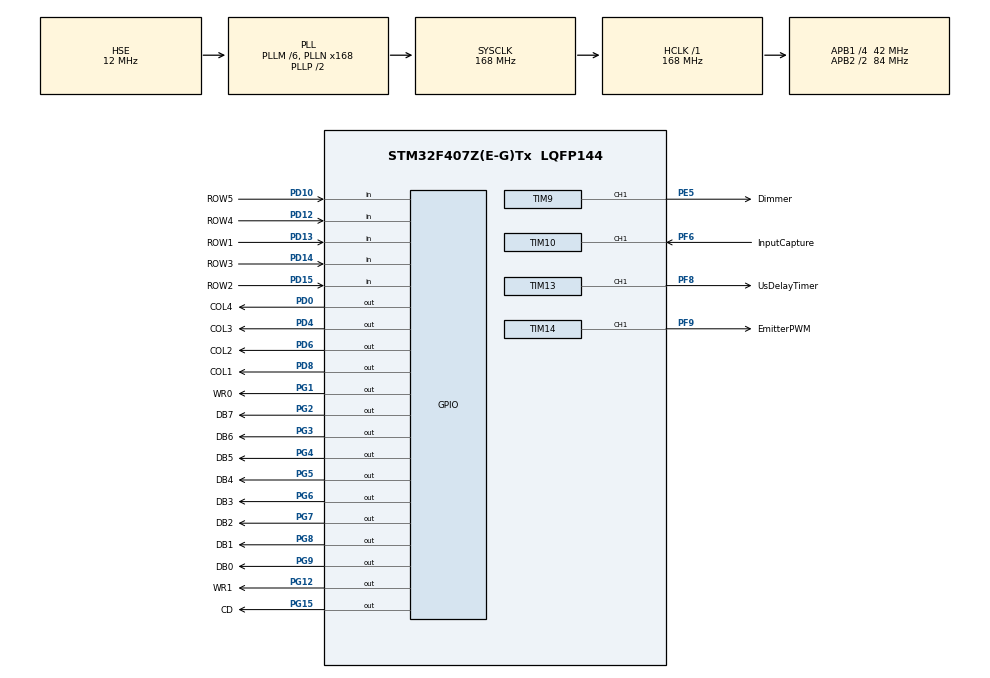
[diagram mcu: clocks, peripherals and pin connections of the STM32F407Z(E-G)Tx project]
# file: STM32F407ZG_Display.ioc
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FREERTOS.Tasks01=rewriteDisplay,55,2048,rewriteDisplayFunction,Default,NULL,Dynamic,NULL,NULL;buttonListen,16,1024,buttonListenFunction,Default,NULL,Dynamic,NULL,NULL
FREERTOS.configENABLE_FPU=1
FREERTOS.configTOTAL_HEAP_SIZE=64536
FREERTOS.configUSE_NEWLIB_REENTRANT=1
Mcu.Family=STM32F4
Mcu.Name=STM32F407Z(E-G)Tx
Mcu.Package=LQFP144
NVIC.FLASH_IRQn=true\:5\:0\:false\:false\:true\:true\:true\:true\:true
NVIC.FPU_IRQn=true\:5\:0\:false\:false\:true\:true\:true\:false\:true
NVIC.PVD_IRQn=true\:5\:0\:false\:false\:true\:true\:true\:true\:true
NVIC.PriorityGroup=NVIC_PRIORITYGROUP_4
NVIC.RCC_IRQn=true\:5\:0\:false\:false\:true\:true\:true\:false\:true
NVIC.TIM1_BRK_TIM9_IRQn=true\:5\:0\:false\:false\:true\:true\:true\:true\:true
NVIC.TIM1_UP_TIM10_IRQn=true\:15\:0\:false\:false\:true\:false\:false\:true\:true
NVIC.TIM8_TRG_COM_TIM14_IRQn=true\:5\:0\:false\:false\:true\:true\:true\:true\:true
NVIC.TIM8_UP_TIM13_IRQn=true\:5\:0\:false\:false\:true\:true\:true\:true\:true
NVIC.TimeBase=TIM1_UP_TIM10_IRQn
NVIC.TimeBaseIP=TIM1
PA13.Mode=Serial_Wire
PA13.Signal=SYS_JTMS-SWDIO
PA14.Mode=Serial_Wire
PA14.Signal=SYS_JTCK-SWCLK
PC14-OSC32_IN.Mode=LSE-External-Oscillator
PC14-OSC32_IN.Signal=RCC_OSC32_IN
PC15-OSC32_OUT.Mode=LSE-External-Oscillator
PC15-OSC32_OUT.Signal=RCC_OSC32_OUT
PD0.GPIO_Label=COL4
PD0.Signal=GPIO_Output
PD10.GPIO_Label=ROW5
PD10.GPIO_PuPd=GPIO_PULLUP
PD10.Signal=GPIO_Input
PD12.GPIO_Label=ROW4
PD12.GPIO_PuPd=GPIO_PULLUP
PD12.Signal=GPIO_Input
PD13.GPIO_Label=ROW1
PD13.GPIO_PuPd=GPIO_PULLUP
PD13.Signal=GPIO_Input
PD14.GPIO_Label=ROW3
PD14.GPIO_PuPd=GPIO_PULLUP
PD14.Signal=GPIO_Input
PD15.GPIO_Label=ROW2
PD15.GPIO_PuPd=GPIO_PULLUP
PD15.Signal=GPIO_Input
PD4.GPIO_Label=COL3
PD4.Signal=GPIO_Output
PD6.GPIO_Label=COL2
PD6.Signal=GPIO_Output
PD8.GPIO_Label=COL1
PD8.Signal=GPIO_Output
PE5.GPIO_Label=Dimmer
PE5.GPIO_Speed=GPIO_SPEED_FREQ_HIGH
PE5.Signal=S_TIM9_CH1
PF6.GPIO_Label=InputCapture
PF6.GPIO_Speed=GPIO_SPEED_FREQ_VERY_HIGH
PF6.Signal=S_TIM10_CH1
PF8.GPIO_Label=UsDelayTimer
PF8.GPIO_ModeDefaultPP=GPIO_MODE_AF_PP
PF8.GPIO_PuPd=GPIO_NOPULL
PF8.GPIO_Speed=GPIO_SPEED_FREQ_VERY_HIGH
PF8.Signal=S_TIM13_CH1
PF9.GPIO_Label=EmitterPWM
PF9.GPIO_Speed=GPIO_SPEED_FREQ_VERY_HIGH
PF9.Signal=S_TIM14_CH1
PG1.GPIO_Label=WR0
PG1.Signal=GPIO_Output
PG12.GPIO_Label=WR1
PG12.Signal=GPIO_Output
PG15.GPIO_Label=CD
PG15.Signal=GPIO_Output
PG2.GPIO_Label=DB7
PG2.Signal=GPIO_Output
PG3.GPIO_Label=DB6
PG3.Signal=GPIO_Output
PG4.GPIO_Label=DB5
PG4.Signal=GPIO_Output
PG5.GPIO_Label=DB4
PG5.Signal=GPIO_Output
PG6.GPIO_Label=DB3
PG6.Signal=GPIO_Output
PG7.GPIO_Label=DB2
PG7.Signal=GPIO_Output
PG8.GPIO_Label=DB1
PG8.Signal=GPIO_Output
PG9.GPIO_Label=DB0
PG9.Signal=GPIO_Output
PH0-OSC_IN.Mode=HSE-External-Oscillator
PH0-OSC_IN.Signal=RCC_OSC_IN
PH1-OSC_OUT.Mode=HSE-External-Oscillator
PH1-OSC_OUT.Signal=RCC_OSC_OUT
ProjectManager.HeapSize=0x2000
ProjectManager.StackSize=0x4000
ProjectManager.TargetToolchain=STM32CubeIDE
RCC.48MHZClocksFreq_Value=84000000
RCC.AHBFreq_Value=168000000
RCC.APB1CLKDivider=RCC_HCLK_DIV4
RCC.APB1Freq_Value=42000000
RCC.APB1TimFreq_Value=84000000
RCC.APB2CLKDivider=RCC_HCLK_DIV2
RCC.APB2Freq_Value=84000000
RCC.APB2TimFreq_Value=168000000
RCC.CortexFreq_Value=168000000
RCC.HCLKFreq_Value=168000000
RCC.HSE_VALUE=12000000
RCC.HSI_VALUE=16000000
RCC.PLLM=6
RCC.PLLN=168
RCC.PLLSourceVirtual=RCC_PLLSOURCE_HSE
RCC.RCC_RTC_Clock_Source=RCC_RTCCLKSOURCE_LSI
RCC.RCC_RTC_Clock_SourceVirtual=RCC_RTCCLKSOURCE_LSI
RCC.SYSCLKFreq_VALUE=168000000
RCC.SYSCLKSource=RCC_SYSCLKSOURCE_PLLCLK
RCC.VCOOutputFreq_Value=336000000
RTC.AsynchPrediv=127
RTC.HourFormat=RTC_HOURFORMAT_24
SH.S_TIM10_CH1.0=TIM10_CH1,Input_Capture1_from_TI1
SH.S_TIM13_CH1.0=TIM13_CH1,PWM Generation1 CH1
SH.S_TIM14_CH1.0=TIM14_CH1,PWM Generation1 CH1
SH.S_TIM9_CH1.0=TIM9_CH1,PWM Generation1 CH1
TIM10.AutoReloadPreload=TIM_AUTORELOAD_PRELOAD_ENABLE
TIM10.Channel=TIM_CHANNEL_1
TIM13.AutoReloadPreload=TIM_AUTORELOAD_PRELOAD_DISABLE
TIM13.Channel=TIM_CHANNEL_1
TIM13.OCFastMode_PWM=TIM_OCFAST_ENABLE
TIM13.Period=65536-1
TIM13.Prescaler=84-1
TIM14.AutoReloadPreload=TIM_AUTORELOAD_PRELOAD_ENABLE
TIM14.Channel=TIM_CHANNEL_1
TIM14.OCFastMode_PWM=TIM_OCFAST_ENABLE
TIM14.OCPolarity_1=TIM_OCPOLARITY_LOW
TIM14.Period=56000-1
TIM14.Prescaler=0
TIM14.Pulse=10
TIM9.AutoReloadPreload=TIM_AUTORELOAD_PRELOAD_ENABLE
TIM9.Channel-PWM\ Generation1\ CH1=TIM_CHANNEL_1
TIM9.ClockDivision=TIM_CLOCKDIVISION_DIV1
TIM9.OCFastMode_PWM-PWM\ Generation1\ CH1=TIM_OCFAST_ENABLE
TIM9.Period=1000-1
TIM9.Prescaler=84-1
TIM9.Pulse-PWM\ Generation1\ CH1=200
VP_FREERTOS_VS_CMSIS_V2.Mode=CMSIS_V2
VP_RTC_VS_RTC_Activate.Mode=RTC_Enabled
VP_SYS_VS_tim1.Mode=TIM1
VP_TIM10_VS_ClockSourceINT.Mode=Enable_Timer
VP_TIM13_VS_ClockSourceINT.Mode=Enable_Timer
VP_TIM14_VS_ClockSourceINT.Mode=Enable_Timer
VP_TIM9_VS_ClockSourceINT.Mode=Internal
board=custom

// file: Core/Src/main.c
/* USER CODE BEGIN Header */
/**
  ******************************************************************************
  * @file           : main.c
  * @brief          : Main program body
  ******************************************************************************
  * @attention
  *
  * <h2><center>&copy; Copyright (c) 2022 STMicroelectronics.
  * All rights reserved.</center></h2>
  *
  * This software component is licensed by ST under BSD 3-Clause license,
  * the "License"; You may not use this file except in compliance with the
  * License. You may obtain a copy of the License at:
  *                        opensource.org/licenses/BSD-3-Clause
  *
  ******************************************************************************
  */
/* USER CODE END Header */
#include "main.h"
#include "cmsis_os.h"

/* USER CODE BEGIN Includes */
#include "u8g2/u8g2.h"
#include <string.h>
#include "STM32F4xx.h"
#include <stm32f4xx_hal.h>
#include "menu.h"
#include <stdio.h>
#include <stdlib.h>
/* USER CODE END Includes */

/* USER CODE BEGIN PD */
uint8_t ButtonState = 0;
/* USER CODE END PD */

RTC_HandleTypeDef hrtc;

TIM_HandleTypeDef htim9;
TIM_HandleTypeDef htim10;
TIM_HandleTypeDef htim13;
TIM_HandleTypeDef htim14;

/* Definitions for rewriteDisplay */
osThreadId_t rewriteDisplayHandle;
const osThreadAttr_t rewriteDisplay_attributes = {
  .name = "rewriteDisplay",
  .stack_size = 2048 * 4,
  .priority = (osPriority_t) osPriorityRealtime7,
};
/* Definitions for buttonListen */
osThreadId_t buttonListenHandle;
const osThreadAttr_t buttonListen_attributes = {
  .name = "buttonListen",
  .stack_size = 1024 * 4,
  .priority = (osPriority_t) osPriorityBelowNormal,
};
/* USER CODE BEGIN PV */
// INPUT CAPTURE VARIABLES
//int64_t IC_Val1 = 0;
//int64_t IC_Val2 = 0;
int64_t Difference = 0;
uint8_t valid_for_capturing = 2;
//uint8_t Is_First_Captured = 0;
const uint64_t TIMCLOCK = 84000000; //168000000
const uint64_t COEFFICIENT = 1000000000;
//const uint64_t translateus2Y = 1562;
///////////////////////////////////////////////////////////////////////////////////////////////////////

// METAL INDICATOR PARAMETERS
//const double min_gs_speed = 0.003; // obvious, no exact
//const double max_hss_speed = 0.009; // obvious, no exact
//const double max_gs_speed = 0.0049; // mm/ns
//const double min_hss_speed = 0.0055; // mm/ns

const double min_gs_speed = 0.0015; // obvious, no exact
const double max_gs_speed = 0.00245; // mm/ns
const double min_hss_speed = 0.00275; // mm/ns
const double max_hss_speed = 0.0045; // obvious, no exact

const uint32_t TEST_DELAY = 400;  // ns

///////////////////////////////////////////////////////////////////////////////////////////////////////

// ARRAY VARIABLES FOR CONST MEASURING LENGTH
const uint8_t array_size = 8;
const uint8_t array_len = 6;
int data_array[][6] = {
		{4, 8, 0, 0, 0, 0},
		{5, 6, 0, 0, 0, 0},
		{0, 0, 0, 0, 0, 0},
		{0, 0, 0, 0, 0, 0},
		{0, 0, 0, 0, 0, 0},
		{0, 0, 0, 0, 0, 0},
		{0, 0, 0, 0, 0, 0},
		{0, 0, 0, 0, 0, 0}
};
int32_t menu1position = 0;
const uint8_t max_menu_position = 5;

/////////////////////////////////////////////////////////////////////////////////////////////////////////

// MESSAGE VARIABLES IN CHANGING LENGTH MODE
int pointer_y_coordinate = 0;
char messages[][25] = {
		{"L1="},
		{"L2="},
		{"L3="},
		{"L4="},
		{"L5="},
		{"L6="},
		{"L7="},
		{"L8="},
};
char current_messages[][25] = {
		{" L1=480,000мм"},
		{" L2=560,000мм"},
		{" L3=000,000мм"},
		{" L4=000,000мм"},
		{" L5=000,000мм"},
		{" L6=000,000мм"},
		{" L7=000,000мм"},
		{" L8=000,000мм"},
};

const int line_points_max_index = 1024;
int line_points_x[1025] = {0};  // initialized in main
// readed values
int line_points_y[1025] = {0};

///////////////////////////////////////////////////////////////////////////////////////////////////////////////////////////////////////////

// USER U8G2 VARIALBLE:
static u8g2_t u8g2;
/* USER CODE END PV */

void SystemClock_Config(void);
static void MX_GPIO_Init(void);
static void MX_TIM10_Init(void);
static void MX_TIM9_Init(void);
static void MX_TIM13_Init(void);
static void MX_TIM14_Init(void);
static void MX_RTC_Init(void);
void rewriteDisplayFunction(void *argument);
void buttonListenFunction(void *argument);

/* USER CODE BEGIN PFP */

// Example menu item specific enter callback function, run when the associated menu item is entered.
static void Level1Item2_Enter(void) {
	u8g2_SetFont(&u8g2, u8g2_font_ncenB14_tr);
	u8g2_FirstPage(&u8g2);
	do {
		u8g2_DrawStr(&u8g2, 0, 15, "ENTER");
	} while (u8g2_NextPage(&u8g2));
}

// Example menu item specific select callback function, run when the associated menu item is selected.
static void Item_Select_Callback(uint8_t x, uint8_t y) {
	u8g2_SetFont(&u8g2, u8g2_font_ncenB14_tr);
	u8g2_SetDrawColor(&u8g2, 1);	// change color of text (inverse)
	u8g2_DrawRBox(&u8g2, x, y, 100, 20, 8);	// draw frame
}

/////////////////////////////////////////////////////////////////////////////////////////////////////////////////////////////////////////////////////////////////////////////////////////////////////////D

// DRAW DOTTED LINE
void u8g2_DrawDLine(u8g2_t *u8g2, u8g2_uint_t x1, u8g2_uint_t y1, u8g2_uint_t x2, u8g2_uint_t y2, u8g2_int_t d) {
	u8g2_uint_t tmp;
	u8g2_uint_t x,y;
	u8g2_uint_t dx, dy;
	u8g2_int_t err;
	u8g2_int_t ystep;
	uint8_t swapxy = 0;
	/* no intersection check at the moment, should be added... */
	if (x1>x2) dx=x1-x2; else dx=x2-x1;
	if (y1>y2) dy=y1-y2; else dy=y2-y1;
	if (dy>dx) {
		swapxy = 1;
		tmp=dx; dx=dy; dy=tmp;
		tmp=x1; x1=y1; y1=tmp;
		tmp=x2; x2=y2; y2=tmp;
	}
	if (x1>x2) tmp=x1, x1=x2, x2=tmp, tmp=y1, y1=y2, y2=tmp;
	err = dx >> 1;
	if (y2>y1) ystep = 1; else ystep = -1, y = y1;
	#ifndef  U8G2_16BIT
		if (x2 == 255) x2--;
	#else
		if (x2 == 0xffff) x2--;
	#endif
	for(x=x1; x<=x2; x++) {
		if (swapxy == 0) {
			if(d==0) {
				u8g2_DrawPixel(u8g2, x, y); /* solid line */
			} else if(d==1){
				if(x%2==0) u8g2_DrawPixel(u8g2, x, y); /* dotted line */
			} else if(d>1){
				if((x/d)%2==0) u8g2_DrawPixel(u8g2, x, y); /* dashed line */
			} else if(d<0){
				if((x/-d)%2!=0) u8g2_DrawPixel(u8g2, x, y); /* dashed line inverted */
			}
		} else {
			if(d==0) {
				u8g2_DrawPixel(u8g2, y, x); /* solid line */
			} else if(d==1){
				if(x%2==0) u8g2_DrawPixel(u8g2, y, x); /* dotted line */
			} else if(d>1){
				if((x/d)%2==0) u8g2_DrawPixel(u8g2, y, x); /* dashed line */
			} else if(d<0){
				if((x/-d)%2!=0) u8g2_DrawPixel(u8g2, y, x); /* dashed line inverted */
			}
		}
		err -= (uint8_t)dy;
		if (err<0) y += (u8g2_uint_t)ystep, err += (u8g2_uint_t)dx;
	}
}

//////////////////////////////////////////////////////////////////////////////////////////////////////////////////////////////////////////////////////////////////////////////////////////////////////

// DRAW GRAPH FOR CHANGING LENGTH POINT IN MENU (2ND)
uint64_t used_difference_ = 0;
uint8_t already_used_ = 0;
static void DrawGraphChangingLength(void) {
	u8g2_SetDrawColor(&u8g2, 1);
	u8g2_FirstPage(&u8g2);
	do {
		u8g2_DrawFrame(&u8g2, 10, 4, 220, 120); // x, y, w, h
		u8g2_SetFont(&u8g2, u8g2_font_10x20_t_cyrillic);
		u8g2_DrawStr(&u8g2, 115, 30, "?");
		// draw unicode symbols
		// horizontal lines:
		u8g2_DrawDLine(&u8g2, 10, 40, 229, 40, 1); // x1, y1, x2, y2
		u8g2_DrawDLine(&u8g2, 10, 110, 229, 110, 1); // x1, y1, x2, y2
		// vertical lines:
		u8g2_DrawDLine(&u8g2, 78, 4, 78, 40, 1); // x1, y1, x2, y2
		u8g2_DrawDLine(&u8g2, 162, 4, 162, 40, 1); // x1, y1, x2, y2
		if (!already_used_) {
			used_difference_ = 0;
			for (int i = 0; i <= line_points_max_index; ++i) {
				used_difference_ += line_points_y[i];
			}
			used_difference_ /= line_points_max_index+1;
			already_used_ = 1;
		}
		if (already_used_ && used_difference_) {
			u8g2_DrawUTF8(&u8g2, 30, 30, "СЧ");
			u8g2_DrawUTF8(&u8g2, 190, 30, "ВЧ");
			u8g2_DrawStr(&u8g2, 85, 80, " > L > ");
			u8g2_DrawUTF8(&u8g2, 35, 95, "мм");
			u8g2_DrawUTF8(&u8g2, 185, 95, "мм");
			char mes1[25];
			char mes2[25];
			double ans1 = used_difference_*max_hss_speed;
			double ans2 = used_difference_*min_gs_speed;
			if (ans1 && ans2) {
				sprintf(mes1, "%.2lf\n", ans1);
				u8g2_DrawUTF8(&u8g2, 20, 80, mes1);
				sprintf(mes2, "%.2lf\n", ans2);
				u8g2_DrawUTF8(&u8g2, 165, 80, mes2);
			}
			already_used_ = 0;
		}
	} while (u8g2_NextPage(&u8g2));
}

///////////////////////////////////////////////////////////////////////////////////////////////////////////////////////////////////////////////////////////////////////////////////////////////////////

//MENU ITEMS INITIALIZATION
//MENU_ITEM(Name, Next, Previous, Parent,    Child,     SelectFunc,           EnterFunc,         xPos,yPos, cursorWidth, cursorHeight, hasachild, Text)
MENU_ITEM(Menu_1, Menu_2, Menu_2, NULL_MENU, Menu_1_1,  Item_Select_Callback, Level1Item2_Enter,       0, 20,  240, 40, 1, "С неизменяющимся измеряемым -размером");
MENU_ITEM(Menu_2, Menu_1, Menu_1, NULL_MENU, NULL_MENU, Item_Select_Callback, DrawGraphChangingLength, 0, 60,  240, 40, 0, "С изменяющимся измеряемым -размером"); // DrawGraphChangingLength
//MENU_ITEM(Menu_3, Menu_1, Menu_2, NULL_MENU, NULL_MENU, Item_Select_Callback, NULL, 0, 100, 240, 40, 0, "График измерений");

MENU_ITEM(Menu_1_1, Menu_1_2, Menu_1_8, Menu_1, NULL_MENU, Item_Select_Callback, NULL, 5, 20, 110, 25, 0, current_messages[0]);
MENU_ITEM(Menu_1_2, Menu_1_3, Menu_1_1, Menu_1, NULL_MENU, Item_Select_Callback, NULL, 5, 45, 110, 25, 0, current_messages[1]);
MENU_ITEM(Menu_1_3, Menu_1_4, Menu_1_2, Menu_1, NULL_MENU, Item_Select_Callback, NULL, 5, 70, 110, 25, 0, current_messages[2]);
MENU_ITEM(Menu_1_4, Menu_1_5, Menu_1_3, Menu_1, NULL_MENU, Item_Select_Callback, NULL, 5, 95, 110, 25, 0, current_messages[3]);
MENU_ITEM(Menu_1_5, Menu_1_6, Menu_1_4, Menu_1, NULL_MENU, Item_Select_Callback, NULL, 5, 120, 110, 25, 0, current_messages[4]);
MENU_ITEM(Menu_1_6, Menu_1_7, Menu_1_5, Menu_1, NULL_MENU, Item_Select_Callback, NULL, 125, 20, 110, 25, 0, current_messages[5]);
MENU_ITEM(Menu_1_7, Menu_1_8, Menu_1_6, Menu_1, NULL_MENU, Item_Select_Callback, NULL, 125, 45, 110, 25, 0, current_messages[6]);
MENU_ITEM(Menu_1_8, Menu_1_1, Menu_1_7, Menu_1, NULL_MENU, Item_Select_Callback, NULL, 125, 70, 110, 25, 0, current_messages[7]);

///////////////////////////////////////////////////////////////////////////////////////////////////////////////////////////////////////////////////////////////////////////////////////////////////////

// FUNCTION FOR WRITE TEXT AND VALUES IN MENU ITEMS
static void Generic_Write(Menu_Item_t *currentMenuItem, Menu_Item_t *currentMenuLayerTopItem) {
	Menu_Item_t *bufptr = currentMenuLayerTopItem;
	u8g2_FirstPage(&u8g2);
	do {
		u8g2_SetDrawColor(&u8g2, 1);	// inverse color
		u8g2_DrawBox(&u8g2, currentMenuItem->xPos, currentMenuItem->yPos - 17, currentMenuItem->cursorWidth, currentMenuItem->cursorHeigth);	// select frame
		u8g2_SetFont(&u8g2, u8g2_font_unifont_t_cyrillic);	// set cyrillic font
		do {
			// if have same coordinates
			if (bufptr->yPos == currentMenuItem->yPos && bufptr->xPos == currentMenuItem->xPos) {
				u8g2_SetDrawColor(&u8g2, 0); // set ordinary text color
				uint8_t stringInterval = 0;
				char str[100];
				strcpy(str, (bufptr->Text)); // copy text from buffer
				const char s[2] = "-";
				char *token;
				token = strtok(str, s);
				while (token != NULL) {
					u8g2_DrawUTF8(&u8g2, bufptr->xPos, bufptr->yPos + stringInterval, token);
					token = strtok(NULL, s);
					stringInterval += 15;
				}
				u8g2_SetDrawColor(&u8g2, 1);
			} else {
				u8g2_SetDrawColor(&u8g2, 1); // set inverse text color
				uint8_t stringInterval = 0;
				char str[100];
				strcpy(str, (bufptr->Text));
				const char s[2] = "-";
				char *token;
				token = strtok(str, s);
				while (token != NULL) {
					u8g2_DrawUTF8(&u8g2, bufptr->xPos, bufptr->yPos + stringInterval, token);
					token = strtok(NULL, s);
					stringInterval += 15;
				}
			}
			bufptr = bufptr->Next;
			// IF FIRST MENU ITEM - DRAW UNDERLINE SYMBOLS
			if (Menu_GetCurrentMenu()->Parent == &Menu_1) {
				uint8_t index_ = 0;
				uint8_t row = 0;
				if (Menu_GetCurrentMenu() == &Menu_1_1) {
					index_ = 0, row = 0;
				} else if (Menu_GetCurrentMenu() == &Menu_1_2) {
					index_ = 1, row = 0;
				} else if (Menu_GetCurrentMenu() == &Menu_1_3) {
					index_ = 2, row = 0;
				} else if (Menu_GetCurrentMenu() == &Menu_1_4) {
					index_ = 3, row = 0;
				} else if (Menu_GetCurrentMenu() == &Menu_1_5) {
					index_ = 4, row = 0;
				} else if (Menu_GetCurrentMenu() == &Menu_1_6) {
					index_ = 0, row = 1;
				} else if (Menu_GetCurrentMenu() == &Menu_1_7) {
					index_ = 1, row = 1;
				} else if (Menu_GetCurrentMenu() == &Menu_1_8) {
					index_ = 2, row = 1;
				}
				u8g2_SetDrawColor(&u8g2, 0);
				if (row == 0) {
					if (menu1position <= 2) {
						u8g2_DrawHLine(&u8g2, 37+8*menu1position, 21+25*index_, 8);
						u8g2_DrawHLine(&u8g2, 37+8*menu1position, 22+25*index_, 8);
					} else {
						u8g2_DrawHLine(&u8g2, 45+8*menu1position, 21+25*index_, 8);
						u8g2_DrawHLine(&u8g2, 45+8*menu1position, 22+25*index_, 8);
					}
				} else if (row == 1){
					if (menu1position <= 2) {
						u8g2_DrawHLine(&u8g2, 157+8*menu1position, 21+25*index_, 8);
						u8g2_DrawHLine(&u8g2, 157+8*menu1position, 22+25*index_, 8);
					} else {
						u8g2_DrawHLine(&u8g2, 165+8*menu1position, 21+25*index_, 8);
						u8g2_DrawHLine(&u8g2, 165+8*menu1position, 22+25*index_, 8);
					}
				}
			}
		} while (bufptr != currentMenuLayerTopItem);
	} while (u8g2_NextPage(&u8g2));
}

////////////////////////////////////////////////////////////////////////////////////////////////////////////////////////////////////////////////////////////////////////////////////////////

// TRANSFORM DOUBLE FROM data_array TO STRING
double double_string(int x) {
	int last_part = 0;
	for (int i = 5; i > 2; --i){
		last_part += data_array[x][i] * pow(10, 5-i);
	}
	int first_part = 0;
	for (int i = 0; i < 3; ++i) {
		first_part += data_array[x][i] * pow(10, 2-i);
	}
	return (double)first_part + (double)last_part/1000;
}

// ADD ELEMENT IN GRAPH (3 POINT IN START MENU)
void add_element(int a) {
	for (int i = 0; i < line_points_max_index; ++i) {
		line_points_y[i] = line_points_y[i+1];
	}
	line_points_y[line_points_max_index] = a;
}

/////////////////////////////////////////////////////////////////////////////////////////////////////////////////////////////////////////////////////////////////////////////////////

// DRAW OBJECT LENGTH LIMITS (2 MENU ITEM)
uint64_t used_difference = 0;
static void DrawStateConstatntLength() {
	uint8_t already_used = 0;
	u8g2_FirstPage(&u8g2);
	u8g2_SetDrawColor(&u8g2, 1);
	const int max_x_point = 220;
	const int max_y_point = 110;
	do {
		// draw frame
		u8g2_DrawFrame(&u8g2, 10, 10, max_x_point, max_y_point+1);
		u8g2_SetFont(&u8g2, u8g2_font_10x20_t_cyrillic);
		int index_ = 9;
		if (Menu_GetCurrentMenu() == &Menu_1_1) {
			index_ = 0;
		} else if (Menu_GetCurrentMenu() == &Menu_1_2) {
			index_ = 1;
		} else if (Menu_GetCurrentMenu() == &Menu_1_3) {
			index_ = 2;
		} else if (Menu_GetCurrentMenu() == &Menu_1_4) {
			index_ = 3;
		} else if (Menu_GetCurrentMenu() == &Menu_1_5) {
			index_ = 4;
		} else if (Menu_GetCurrentMenu() == &Menu_1_6) {
			index_ = 5;
		} else if (Menu_GetCurrentMenu() == &Menu_1_7) {
			index_ = 6;
		} else if (Menu_GetCurrentMenu() == &Menu_1_8) {
			index_ = 7;
		}
		if (index_ != 9) {
			char mes[25];
			sprintf(mes, "L = %d%d%d,%d%d%d мм", data_array[index_][0], data_array[index_][1], data_array[index_][2], data_array[index_][3], data_array[index_][4], data_array[index_][5]);
			u8g2_DrawUTF8(&u8g2, 50, 30, mes);
		}
		if (!already_used) {
			used_difference = 0;
			for (int i = 0; i <= 240; ++i) {
				used_difference += line_points_y[i];
			}
			used_difference /= 241;
			already_used = 1;
		}
		// draw frame
		u8g2_DrawFrame(&u8g2, 90, 40, 60, 30);
		double length = double_string(index_);
		double min_gs_length = min_gs_speed*used_difference;
		double max_hss_length = max_hss_speed*used_difference;
		double max_gs_length = max_gs_speed*used_difference;
		double min_hss_length = min_hss_speed*used_difference;
		if (used_difference) {
			if (length <= max_gs_length && length > min_gs_length) {
				u8g2_DrawUTF8(&u8g2, 110, 60, "СЧ");
			} else if (length >= min_hss_length && length < max_hss_length) {
				u8g2_DrawUTF8(&u8g2, 110, 60, "ВЧ");
			} else {
				u8g2_DrawUTF8(&u8g2, 115, 60, "?");
			}
		} else {
			u8g2_DrawUTF8(&u8g2, 115, 60, "?");
		}
		u8g2_DrawHLine(&u8g2, 10, 73, 220);
		char mes3[25];
		char mes4[25];
		sprintf(mes3, "СЧ: L<=%.3lfмм\n", max_gs_length);
		sprintf(mes4, "ВЧ: L>=%.3lfмм\n", min_hss_length);
		u8g2_DrawUTF8(&u8g2, 30, 90, mes3);
		u8g2_DrawUTF8(&u8g2, 30, 110, mes4);
	} while (u8g2_NextPage(&u8g2));
}

///////////////////////////////////////////////////////////////////////////////////////////////////////////////////////////////////////////////////////////////////////////////////////

// ALTERNATIVE SAFER DELAY FUNCTION FOR MICROSECONDS DELAY
void delay_us(uint8_t us) {
	__HAL_TIM_SET_COUNTER(&htim13, 0);  // set the counter value a 0
	while (__HAL_TIM_GET_COUNTER(&htim13) < us);
	// wait for the counter to reach the us input in the parameter
}

// U8G2 FUNCTION TO WORK PROPERLY (DISPLAY PINS ARE ASSIGNED HERE)
uint8_t u8g2_gpio_and_delay_stm32(U8X8_UNUSED u8x8_t *u8x8, U8X8_UNUSED uint8_t msg, U8X8_UNUSED uint8_t arg_int, U8X8_UNUSED void *arg_ptr) {
	switch (msg) {
		case U8X8_MSG_GPIO_AND_DELAY_INIT:
			HAL_GPIO_WritePin(WR1_GPIO_Port, WR1_Pin, 1);
			HAL_GPIO_WritePin(WR0_GPIO_Port, WR0_Pin, 1);
			osDelay(1);
			break;
		case U8X8_MSG_DELAY_100NANO:		// delay arg_int * 100 nano seconds
			delay_us(arg_int / 10);
			break;
		case U8X8_MSG_DELAY_10MICRO:		// delay arg_int * 10 micro seconds
			delay_us(arg_int * 10);
			break;
		case U8X8_MSG_DELAY_MILLI:			// delay arg_int * 1 milli second
			osDelay(arg_int);
			break;
		case U8X8_MSG_DELAY_NANO:			// delay arg_int * 1 milli second
			delay_us(arg_int / 1000);
			break;
		case U8X8_MSG_GPIO_D0:
			HAL_GPIO_WritePin(DB0_GPIO_Port, DB0_Pin, arg_int);
			break;
		case U8X8_MSG_GPIO_D1:
			HAL_GPIO_WritePin(DB1_GPIO_Port, DB1_Pin, arg_int);
			break;
		case U8X8_MSG_GPIO_D2:
			HAL_GPIO_WritePin(DB2_GPIO_Port, DB2_Pin, arg_int);
			break;
		case U8X8_MSG_GPIO_D3:
			HAL_GPIO_WritePin(DB3_GPIO_Port, DB3_Pin, arg_int);
			break;
		case U8X8_MSG_GPIO_D4:
			HAL_GPIO_WritePin(DB4_GPIO_Port, DB4_Pin, arg_int);
			break;
		case U8X8_MSG_GPIO_D5:
			HAL_GPIO_WritePin(DB5_GPIO_Port, DB5_Pin, arg_int);
			break;
		case U8X8_MSG_GPIO_D6:
			HAL_GPIO_WritePin(DB6_GPIO_Port, DB6_Pin, arg_int);
			break;
		case U8X8_MSG_GPIO_D7:
			HAL_GPIO_WritePin(DB7_GPIO_Port, DB7_Pin, arg_int);
			break;
		case U8X8_MSG_GPIO_DC:
			HAL_GPIO_WritePin(CD_GPIO_Port, CD_Pin, arg_int);
			break;					// used as E2 for the SED1520
		case U8X8_MSG_GPIO_E: // 72
			HAL_GPIO_WritePin(WR0_GPIO_Port, WR0_Pin, arg_int);
			break;
	}
	return 1;
}

//////////////////////////////////////////////////////////////////////////////////////////////////////////////////////////////////////////////////////////////////////////////////////////

/* USER CODE END PFP */

/* USER CODE BEGIN 0 */
// initialize beackup strategy
void serialize_to_bkp_registers() {
    uint32_t value = 0;
    uint32_t index = 0;
    HAL_PWR_EnableBkUpAccess();
    for (uint32_t i = 0; i < array_size; i++) {
        for (uint32_t j = 0; j < array_len; j++) {
            value = value * 10 + data_array[i][j];
        }
        if (index < RTC_BKP_NUMBER) {
            HAL_RTCEx_BKUPWrite(&hrtc, RTC_BKP_DR0 + index, value);
            index++;
            value = 0;
        }
    }
    HAL_PWR_DisableBkUpAccess();
}

void deserialize_from_bkp_registers() {
    uint32_t index = 0;
    uint32_t value;

    for (uint32_t i = 0; i < array_size; i++) {
        if (index < RTC_BKP_NUMBER) {
            value = HAL_RTCEx_BKUPRead(&hrtc, RTC_BKP_DR0 + index);
            if (value) {
				index++;

				for (int j = array_len - 1; j >= 0; j--) {
					data_array[i][j] = value % 10;
					value /= 10;
				}
            }
        }
    }
}

// CAPTURE TIME BETWEEN TWO PULSES
uint32_t number_of_overflowing = 0;  // TO DO
void HAL_TIM_IC_CaptureCallback(TIM_HandleTypeDef *htim)
{
	if ((htim->Instance == TIM10) && (valid_for_capturing == 1)) {
		Difference = HAL_TIM_ReadCapturedValue(htim, TIM_CHANNEL_1);
		if ((Difference > TEST_DELAY) && (Difference < 30000)) {
			add_element(round(COEFFICIENT*(double)(Difference)/TIMCLOCK) - TEST_DELAY);
			valid_for_capturing = 0;
		}
	}
}

// stop generating ultra-sound
//uint8_t is_period_started = 0;
void HAL_TIM_PWM_PulseFinishedCallback(TIM_HandleTypeDef *htim)
{
	if (htim->Instance == TIM14) {
		__HAL_TIM_SET_COUNTER(&htim10, 0x0000);
		valid_for_capturing = 1;
	}
}

// reset timer for input capture, to get only ticks of tim2 after
// void HAL_TIM_PeriodElapsedCallback(TIM_HandleTypeDef *htim)
// left in bottom

/* USER CODE END 0 */

int main(void)
{

  /* MCU Configuration--------------------------------------------------------*/

  /* Reset of all peripherals, Initializes the Flash interface and the Systick. */
  HAL_Init();

  /* Configure the system clock */
  SystemClock_Config();

  /* Initialize all configured peripherals */
  MX_GPIO_Init();
  MX_TIM10_Init();
  MX_TIM9_Init();
  MX_TIM13_Init();
  MX_TIM14_Init();
  MX_RTC_Init();
  /* USER CODE BEGIN 2 */

  HAL_TIM_OC_Start_IT(&htim14, TIM_CHANNEL_1);
  HAL_TIM_PWM_Start_IT(&htim14, TIM_CHANNEL_1);

  HAL_TIM_PWM_Start(&htim13, TIM_CHANNEL_1);

//  __HAL_TIM_ENABLE_IT(&htim10, TIM_IT_UPDATE);
  HAL_TIM_IC_Start_IT(&htim10, TIM_CHANNEL_1);

  HAL_Delay(1500);

  u8g2_Setup_uc1608_240x128_2(&u8g2, U8G2_R0, u8x8_byte_8bit_8080mode, u8g2_gpio_and_delay_stm32); //u8x8_byte_8bit_6800mode
  // DISPLAY INITIALIZATION
  u8g2_InitDisplay(&u8g2); // send init sequence to the display, display is in sleep mode after this,
  u8g2_SetPowerSave(&u8g2, 0); // wake up display
  // START MENU WORK
  Menu_SetGenericWriteCallback(Generic_Write, &Menu_1);
  Menu_SetCurrentLayerTopMenu(&Menu_1);
  Menu_Navigate(&Menu_1, Menu_GetCurrentLayerTopMenu());

  // get all data from backup
  deserialize_from_bkp_registers();

  for (uint32_t i = 0; i <= line_points_max_index; ++i) {
	  line_points_x[i] = i;
  }

  /* USER CODE END 2 */

  /* Init scheduler */
  osKernelInitialize();

  /* Create the thread(s) */
  /* creation of rewriteDisplay */
  rewriteDisplayHandle = osThreadNew(rewriteDisplayFunction, NULL, &rewriteDisplay_attributes);

  /* creation of buttonListen */
  buttonListenHandle = osThreadNew(buttonListenFunction, NULL, &buttonListen_attributes);

  /* Start scheduler */
  osKernelStart();

  /* We should never get here as control is now taken by the scheduler */
  /* Infinite loop */
  while (1)
  {

  }
}

void SystemClock_Config(void)
{
  RCC_OscInitTypeDef RCC_OscInitStruct = {0};
  RCC_ClkInitTypeDef RCC_ClkInitStruct = {0};

  /** Configure the main internal regulator output voltage
  */
  __HAL_RCC_PWR_CLK_ENABLE();
  __HAL_PWR_VOLTAGESCALING_CONFIG(PWR_REGULATOR_VOLTAGE_SCALE1);

  /** Initializes the RCC Oscillators according to the specified parameters
  * in the RCC_OscInitTypeDef structure.
  */
  RCC_OscInitStruct.OscillatorType = RCC_OSCILLATORTYPE_LSI|RCC_OSCILLATORTYPE_HSE;
  RCC_OscInitStruct.HSEState = RCC_HSE_ON;
  RCC_OscInitStruct.LSIState = RCC_LSI_ON;
  RCC_OscInitStruct.PLL.PLLState = RCC_PLL_ON;
  RCC_OscInitStruct.PLL.PLLSource = RCC_PLLSOURCE_HSE;
  RCC_OscInitStruct.PLL.PLLM = 6;
  RCC_OscInitStruct.PLL.PLLN = 168;
  RCC_OscInitStruct.PLL.PLLP = RCC_PLLP_DIV2;
  RCC_OscInitStruct.PLL.PLLQ = 4;
  if (HAL_RCC_OscConfig(&RCC_OscInitStruct) != HAL_OK)
  {
    Error_Handler();
  }

  /** Initializes the CPU, AHB and APB buses clocks
  */
  RCC_ClkInitStruct.ClockType = RCC_CLOCKTYPE_HCLK|RCC_CLOCKTYPE_SYSCLK
                              |RCC_CLOCKTYPE_PCLK1|RCC_CLOCKTYPE_PCLK2;
  RCC_ClkInitStruct.SYSCLKSource = RCC_SYSCLKSOURCE_PLLCLK;
  RCC_ClkInitStruct.AHBCLKDivider = RCC_SYSCLK_DIV1;
  RCC_ClkInitStruct.APB1CLKDivider = RCC_HCLK_DIV4;
  RCC_ClkInitStruct.APB2CLKDivider = RCC_HCLK_DIV2;

  if (HAL_RCC_ClockConfig(&RCC_ClkInitStruct, FLASH_LATENCY_5) != HAL_OK)
  {
    Error_Handler();
  }
}

static void MX_RTC_Init(void)
{

  /** Initialize RTC Only
  */
  hrtc.Instance = RTC;
  hrtc.Init.HourFormat = RTC_HOURFORMAT_24;
  hrtc.Init.AsynchPrediv = 127;
  hrtc.Init.SynchPrediv = 255;
  hrtc.Init.OutPut = RTC_OUTPUT_DISABLE;
  hrtc.Init.OutPutPolarity = RTC_OUTPUT_POLARITY_HIGH;
  hrtc.Init.OutPutType = RTC_OUTPUT_TYPE_OPENDRAIN;
  if (HAL_RTC_Init(&hrtc) != HAL_OK)
  {
    Error_Handler();
  }

}

static void MX_TIM9_Init(void)
{

  TIM_ClockConfigTypeDef sClockSourceConfig = {0};
  TIM_OC_InitTypeDef sConfigOC = {0};

  htim9.Instance = TIM9;
  htim9.Init.Prescaler = 84-1;
  htim9.Init.CounterMode = TIM_COUNTERMODE_UP;
  htim9.Init.Period = 1000-1;
  htim9.Init.ClockDivision = TIM_CLOCKDIVISION_DIV1;
  htim9.Init.AutoReloadPreload = TIM_AUTORELOAD_PRELOAD_ENABLE;
  if (HAL_TIM_Base_Init(&htim9) != HAL_OK)
  {
    Error_Handler();
  }
  sClockSourceConfig.ClockSource = TIM_CLOCKSOURCE_INTERNAL;
  if (HAL_TIM_ConfigClockSource(&htim9, &sClockSourceConfig) != HAL_OK)
  {
    Error_Handler();
  }
  if (HAL_TIM_PWM_Init(&htim9) != HAL_OK)
  {
    Error_Handler();
  }
  sConfigOC.OCMode = TIM_OCMODE_PWM1;
  sConfigOC.Pulse = 200;
  sConfigOC.OCPolarity = TIM_OCPOLARITY_HIGH;
  sConfigOC.OCFastMode = TIM_OCFAST_ENABLE;
  if (HAL_TIM_PWM_ConfigChannel(&htim9, &sConfigOC, TIM_CHANNEL_1) != HAL_OK)
  {
    Error_Handler();
  }
  HAL_TIM_MspPostInit(&htim9);

}

static void MX_TIM10_Init(void)
{

  TIM_IC_InitTypeDef sConfigIC = {0};

  htim10.Instance = TIM10;
  htim10.Init.Prescaler = 0;
  htim10.Init.CounterMode = TIM_COUNTERMODE_UP;
  htim10.Init.Period = 65535;
  htim10.Init.ClockDivision = TIM_CLOCKDIVISION_DIV1;
  htim10.Init.AutoReloadPreload = TIM_AUTORELOAD_PRELOAD_ENABLE;
  if (HAL_TIM_Base_Init(&htim10) != HAL_OK)
  {
    Error_Handler();
  }
  if (HAL_TIM_IC_Init(&htim10) != HAL_OK)
  {
    Error_Handler();
  }
  sConfigIC.ICPolarity = TIM_INPUTCHANNELPOLARITY_RISING;
  sConfigIC.ICSelection = TIM_ICSELECTION_DIRECTTI;
  sConfigIC.ICPrescaler = TIM_ICPSC_DIV1;
  sConfigIC.ICFilter = 0;
  if (HAL_TIM_IC_ConfigChannel(&htim10, &sConfigIC, TIM_CHANNEL_1) != HAL_OK)
  {
    Error_Handler();
  }

}

static void MX_TIM13_Init(void)
{

  TIM_OC_InitTypeDef sConfigOC = {0};

  htim13.Instance = TIM13;
  htim13.Init.Prescaler = 84-1;
  htim13.Init.CounterMode = TIM_COUNTERMODE_UP;
  htim13.Init.Period = 65536-1;
  htim13.Init.ClockDivision = TIM_CLOCKDIVISION_DIV1;
  htim13.Init.AutoReloadPreload = TIM_AUTORELOAD_PRELOAD_DISABLE;
  if (HAL_TIM_Base_Init(&htim13) != HAL_OK)
  {
    Error_Handler();
  }
  if (HAL_TIM_PWM_Init(&htim13) != HAL_OK)
  {
    Error_Handler();
  }
  sConfigOC.OCMode = TIM_OCMODE_PWM1;
  sConfigOC.Pulse = 0;
  sConfigOC.OCPolarity = TIM_OCPOLARITY_HIGH;
  sConfigOC.OCFastMode = TIM_OCFAST_ENABLE;
  if (HAL_TIM_PWM_ConfigChannel(&htim13, &sConfigOC, TIM_CHANNEL_1) != HAL_OK)
  {
    Error_Handler();
  }
  HAL_TIM_MspPostInit(&htim13);

}

static void MX_TIM14_Init(void)
{

  TIM_OC_InitTypeDef sConfigOC = {0};

  htim14.Instance = TIM14;
  htim14.Init.Prescaler = 0;
  htim14.Init.CounterMode = TIM_COUNTERMODE_UP;
  htim14.Init.Period = 56000-1;
  htim14.Init.ClockDivision = TIM_CLOCKDIVISION_DIV1;
  htim14.Init.AutoReloadPreload = TIM_AUTORELOAD_PRELOAD_ENABLE;
  if (HAL_TIM_Base_Init(&htim14) != HAL_OK)
  {
    Error_Handler();
  }
  if (HAL_TIM_PWM_Init(&htim14) != HAL_OK)
  {
    Error_Handler();
  }
  sConfigOC.OCMode = TIM_OCMODE_PWM1;
  sConfigOC.Pulse = 10;
  sConfigOC.OCPolarity = TIM_OCPOLARITY_LOW;
  sConfigOC.OCFastMode = TIM_OCFAST_ENABLE;
  if (HAL_TIM_PWM_ConfigChannel(&htim14, &sConfigOC, TIM_CHANNEL_1) != HAL_OK)
  {
    Error_Handler();
  }
  HAL_TIM_MspPostInit(&htim14);

}

static void MX_GPIO_Init(void)
{
  GPIO_InitTypeDef GPIO_InitStruct = {0};

  /* GPIO Ports Clock Enable */
  __HAL_RCC_GPIOE_CLK_ENABLE();
  __HAL_RCC_GPIOC_CLK_ENABLE();
  __HAL_RCC_GPIOF_CLK_ENABLE();
  __HAL_RCC_GPIOH_CLK_ENABLE();
  __HAL_RCC_GPIOA_CLK_ENABLE();
  __HAL_RCC_GPIOB_CLK_ENABLE();
  __HAL_RCC_GPIOG_CLK_ENABLE();
  __HAL_RCC_GPIOD_CLK_ENABLE();

  /*Configure GPIO pin Output Level */
  HAL_GPIO_WritePin(GPIOG, WR0_Pin|DB7_Pin|DB6_Pin|DB5_Pin
                          |DB4_Pin|DB3_Pin|DB2_Pin|DB1_Pin
                          |DB0_Pin|WR1_Pin|CD_Pin, GPIO_PIN_RESET);

  /*Configure GPIO pin Output Level */
  HAL_GPIO_WritePin(GPIOD, COL1_Pin|COL4_Pin|COL3_Pin|COL2_Pin, GPIO_PIN_RESET);

  /*Configure GPIO pins : PE2 PE3 PE4 PE6
                           PE7 PE8 PE9 PE10
                           PE11 PE12 PE13 PE14
                           PE15 PE0 PE1 */
  GPIO_InitStruct.Pin = GPIO_PIN_2|GPIO_PIN_3|GPIO_PIN_4|GPIO_PIN_6
                          |GPIO_PIN_7|GPIO_PIN_8|GPIO_PIN_9|GPIO_PIN_10
                          |GPIO_PIN_11|GPIO_PIN_12|GPIO_PIN_13|GPIO_PIN_14
                          |GPIO_PIN_15|GPIO_PIN_0|GPIO_PIN_1;
  GPIO_InitStruct.Mode = GPIO_MODE_ANALOG;
  GPIO_InitStruct.Pull = GPIO_NOPULL;
  HAL_GPIO_Init(GPIOE, &GPIO_InitStruct);

  /*Configure GPIO pins : PC13 PC0 PC1 PC2
                           PC3 PC4 PC5 PC6
                           PC7 PC8 PC9 PC10
                           PC11 PC12 */
  GPIO_InitStruct.Pin = GPIO_PIN_13|GPIO_PIN_0|GPIO_PIN_1|GPIO_PIN_2
                          |GPIO_PIN_3|GPIO_PIN_4|GPIO_PIN_5|GPIO_PIN_6
                          |GPIO_PIN_7|GPIO_PIN_8|GPIO_PIN_9|GPIO_PIN_10
                          |GPIO_PIN_11|GPIO_PIN_12;
  GPIO_InitStruct.Mode = GPIO_MODE_ANALOG;
  GPIO_InitStruct.Pull = GPIO_NOPULL;
  HAL_GPIO_Init(GPIOC, &GPIO_InitStruct);

  /*Configure GPIO pins : PF0 PF1 PF2 PF3
                           PF4 PF5 PF7 PF10
                           PF11 PF12 PF13 PF14
                           PF15 */
  GPIO_InitStruct.Pin = GPIO_PIN_0|GPIO_PIN_1|GPIO_PIN_2|GPIO_PIN_3
                          |GPIO_PIN_4|GPIO_PIN_5|GPIO_PIN_7|GPIO_PIN_10
                          |GPIO_PIN_11|GPIO_PIN_12|GPIO_PIN_13|GPIO_PIN_14
                          |GPIO_PIN_15;
  GPIO_InitStruct.Mode = GPIO_MODE_ANALOG;
  GPIO_InitStruct.Pull = GPIO_NOPULL;
  HAL_GPIO_Init(GPIOF, &GPIO_InitStruct);

  /*Configure GPIO pins : PA0 PA1 PA2 PA3
                           PA4 PA5 PA6 PA7
                           PA8 PA9 PA10 PA11
                           PA12 PA15 */
  GPIO_InitStruct.Pin = GPIO_PIN_0|GPIO_PIN_1|GPIO_PIN_2|GPIO_PIN_3
                          |GPIO_PIN_4|GPIO_PIN_5|GPIO_PIN_6|GPIO_PIN_7
                          |GPIO_PIN_8|GPIO_PIN_9|GPIO_PIN_10|GPIO_PIN_11
                          |GPIO_PIN_12|GPIO_PIN_15;
  GPIO_InitStruct.Mode = GPIO_MODE_ANALOG;
  GPIO_InitStruct.Pull = GPIO_NOPULL;
  HAL_GPIO_Init(GPIOA, &GPIO_InitStruct);

  /*Configure GPIO pins : PB0 PB1 PB2 PB10
                           PB11 PB12 PB13 PB14
                           PB15 PB3 PB4 PB5
                           PB6 PB7 PB8 PB9 */
  GPIO_InitStruct.Pin = GPIO_PIN_0|GPIO_PIN_1|GPIO_PIN_2|GPIO_PIN_10
                          |GPIO_PIN_11|GPIO_PIN_12|GPIO_PIN_13|GPIO_PIN_14
                          |GPIO_PIN_15|GPIO_PIN_3|GPIO_PIN_4|GPIO_PIN_5
                          |GPIO_PIN_6|GPIO_PIN_7|GPIO_PIN_8|GPIO_PIN_9;
  GPIO_InitStruct.Mode = GPIO_MODE_ANALOG;
  GPIO_InitStruct.Pull = GPIO_NOPULL;
  HAL_GPIO_Init(GPIOB, &GPIO_InitStruct);

  /*Configure GPIO pins : PG0 PG10 PG11 PG13
                           PG14 */
  GPIO_InitStruct.Pin = GPIO_PIN_0|GPIO_PIN_10|GPIO_PIN_11|GPIO_PIN_13
                          |GPIO_PIN_14;
  GPIO_InitStruct.Mode = GPIO_MODE_ANALOG;
  GPIO_InitStruct.Pull = GPIO_NOPULL;
  HAL_GPIO_Init(GPIOG, &GPIO_InitStruct);

  /*Configure GPIO pins : WR0_Pin DB7_Pin DB6_Pin DB5_Pin
                           DB4_Pin DB3_Pin DB2_Pin DB1_Pin
                           DB0_Pin WR1_Pin CD_Pin */
  GPIO_InitStruct.Pin = WR0_Pin|DB7_Pin|DB6_Pin|DB5_Pin
                          |DB4_Pin|DB3_Pin|DB2_Pin|DB1_Pin
                          |DB0_Pin|WR1_Pin|CD_Pin;
  GPIO_InitStruct.Mode = GPIO_MODE_OUTPUT_PP;
  GPIO_InitStruct.Pull = GPIO_NOPULL;
  GPIO_InitStruct.Speed = GPIO_SPEED_FREQ_LOW;
  HAL_GPIO_Init(GPIOG, &GPIO_InitStruct);

  /*Configure GPIO pins : COL1_Pin COL4_Pin COL3_Pin COL2_Pin */
  GPIO_InitStruct.Pin = COL1_Pin|COL4_Pin|COL3_Pin|COL2_Pin;
  GPIO_InitStruct.Mode = GPIO_MODE_OUTPUT_PP;
  GPIO_InitStruct.Pull = GPIO_NOPULL;
  GPIO_InitStruct.Speed = GPIO_SPEED_FREQ_LOW;
  HAL_GPIO_Init(GPIOD, &GPIO_InitStruct);

  /*Configure GPIO pins : PD9 PD11 PD1 PD2
                           PD3 PD5 PD7 */
  GPIO_InitStruct.Pin = GPIO_PIN_9|GPIO_PIN_11|GPIO_PIN_1|GPIO_PIN_2
                          |GPIO_PIN_3|GPIO_PIN_5|GPIO_PIN_7;
  GPIO_InitStruct.Mode = GPIO_MODE_ANALOG;
  GPIO_InitStruct.Pull = GPIO_NOPULL;
  HAL_GPIO_Init(GPIOD, &GPIO_InitStruct);

  /*Configure GPIO pins : ROW5_Pin ROW4_Pin ROW1_Pin ROW3_Pin
                           ROW2_Pin */
  GPIO_InitStruct.Pin = ROW5_Pin|ROW4_Pin|ROW1_Pin|ROW3_Pin
                          |ROW2_Pin;
  GPIO_InitStruct.Mode = GPIO_MODE_INPUT;
  GPIO_InitStruct.Pull = GPIO_PULLUP;
  HAL_GPIO_Init(GPIOD, &GPIO_InitStruct);

}

void rewriteDisplayFunction(void *argument)
{
  /* USER CODE BEGIN 5 */
//	u8g2_ClearBuffer(&u8g2);
//	u8g2_ClearDisplay(&u8g2);
  /* Infinite loop */
	for(;;){
	  switch(ButtonState) {
		// MOVE FORWARD IN MENU
		case 1:
			Menu_Navigate(Menu_GetCurrentMenu()->Next, Menu_GetCurrentLayerTopMenu()); // Next, Child, Parent, Previous
			ButtonState = 0;
			break;
		// MOVE BACKWARDS IN MENU
		case 2:
			Menu_Navigate(Menu_GetCurrentMenu()->Previous, Menu_GetCurrentLayerTopMenu()); // Next, Child, Parent, Previous
			ButtonState = 0;
			break;
		// MOVE IN CHILD ELEMENT, PROGRESS (FOR GRAPHS AND 2 MENU DETERMINATION BREAK U8G2 RULES)
		case 3:
			if (Menu_GetCurrentMenu() == &Menu_2) {
				u8g2_FirstPage(&u8g2);
				do {
					DrawGraphChangingLength();
				} while (u8g2_NextPage(&u8g2));
				break;
			} else if (Menu_GetCurrentMenu()->Parent == &Menu_1) {
				u8g2_FirstPage(&u8g2);
				do {
					DrawStateConstatntLength();
				} while (u8g2_NextPage(&u8g2));
				break;
			} else {
				Menu_Navigate(Menu_GetCurrentMenu()->Child, Menu_GetCurrentLayerTopMenu()->Child); // Next, Child, Parent, Previous
			}
			ButtonState = 0;
			break;
		// MOVE INTO PARENT ELEMENT, GET BACK IN PROGRESSION
		case 4:
			Menu_Navigate(Menu_GetCurrentMenu()->Parent, Menu_GetCurrentLayerTopMenu()->Parent); // Next, Child, Parent, Previous
			ButtonState = 0;
			break;
		// FIRST MENU - MOVE CHANGEBLE POSITION TO LOWER
		case 5:
			if (Menu_GetCurrentMenu()->Parent == &Menu_1) {
				if (menu1position < max_menu_position) {
					menu1position += 1;
				}
				ButtonState = 0;
			}
			break;
		// IF FIRST MENU - MOVE TO HIGHER POSITION
		case 6:
			if (Menu_GetCurrentMenu()->Parent == &Menu_1) {
				if (menu1position > 0) {
					menu1position -= 1;
				}
				ButtonState = 0;
			}
			break;
		case 7:
			if (Menu_GetCurrentMenu()->Parent == &Menu_1) {
				int index_ = 9;
				if (Menu_GetCurrentMenu() == &Menu_1_1) {
					index_ = 0;
				} else if (Menu_GetCurrentMenu() == &Menu_1_2) {
					index_ = 1;
				} else if (Menu_GetCurrentMenu() == &Menu_1_3) {
					index_ = 2;
				} else if (Menu_GetCurrentMenu() == &Menu_1_4) {
					index_ = 3;
				} else if (Menu_GetCurrentMenu() == &Menu_1_5) {
					index_ = 4;
				} else if (Menu_GetCurrentMenu() == &Menu_1_6) {
					index_ = 5;
				} else if (Menu_GetCurrentMenu() == &Menu_1_7) {
					index_ = 6;
				} else if (Menu_GetCurrentMenu() == &Menu_1_8) {
					index_ = 7;
				}
				if (index_ != 9) {
					if (data_array[index_][menu1position] > 0) {
						data_array[index_][menu1position] -= 1;
					}
				}
				for (size_t i = 0; i < array_size; ++i) {
					sprintf(current_messages[i], " %s%d%d%d,%d%d%dмм", messages[i], data_array[i][0], data_array[i][1], data_array[i][2], data_array[i][3], data_array[i][4], data_array[i][5]);
				}
				ButtonState = 0;
				serialize_to_bkp_registers();
			}
			break;
		// IF GRAPH - MOVE DOWN, THEN REDRAW
		case 8:
			if (Menu_GetCurrentMenu()->Parent == &Menu_1) {
				int index_ = 9;
				if (Menu_GetCurrentMenu() == &Menu_1_1) {
					index_ = 0;
				} else if (Menu_GetCurrentMenu() == &Menu_1_2) {
					index_ = 1;
				} else if (Menu_GetCurrentMenu() == &Menu_1_3) {
					index_ = 2;
				} else if (Menu_GetCurrentMenu() == &Menu_1_4) {
					index_ = 3;
				} else if (Menu_GetCurrentMenu() == &Menu_1_5) {
					index_ = 4;
				} else if (Menu_GetCurrentMenu() == &Menu_1_6) {
					index_ = 5;
				} else if (Menu_GetCurrentMenu() == &Menu_1_7) {
					index_ = 6;
				} else if (Menu_GetCurrentMenu() == &Menu_1_8) {
					index_ = 7;
				}
				if (index_ != 9) {
					if (data_array[index_][menu1position] < 9) {
						data_array[index_][menu1position] += 1;
					}
				}
				for (size_t i = 0; i < array_size; ++i) {
					sprintf(current_messages[i], " %s%d%d%d,%d%d%dмм", messages[i], data_array[i][0], data_array[i][1], data_array[i][2], data_array[i][3], data_array[i][4], data_array[i][5]);
				}
				ButtonState = 0;
				serialize_to_bkp_registers();
			}
			break;
		case 0:
			Menu_Navigate(Menu_GetCurrentMenu(), Menu_GetCurrentLayerTopMenu());
			break;
		default:
			ButtonState = 0;
		}
		osDelay(10);
	}
  /* USER CODE END 5 */
}

void buttonListenFunction(void *argument)
{
  /* USER CODE BEGIN buttonListenFunction */
  /* Infinite loop */
		//0  1  2  3  {+1}
		//4  5  6  7  {+1}
		//8  9  10 11 {+1}
		//12 13 14 15 {+1}
		const int rows_count = 4;
		const int columns_count = 4;
		GPIO_TypeDef* row_ports[] = {ROW1_GPIO_Port, ROW2_GPIO_Port, ROW3_GPIO_Port, ROW4_GPIO_Port, ROW5_GPIO_Port};
		uint16_t row_pins[] = {ROW1_Pin, ROW2_Pin, ROW3_Pin, ROW4_Pin, ROW5_Pin};
		GPIO_TypeDef* column_ports[] = {COL1_GPIO_Port, COL2_GPIO_Port, COL3_GPIO_Port, COL4_GPIO_Port};
		uint16_t column_pins[] = {COL1_Pin, COL2_Pin, COL3_Pin, COL4_Pin};
		for(;;){
			for (int i = 0; i < columns_count; i++) {
				for (int j = 0; j < columns_count; j++) {
					HAL_GPIO_WritePin(column_ports[j], column_pins[j], (i==j) ? GPIO_PIN_RESET : GPIO_PIN_SET);  //Pull low
				}
				for (int j = 0; j < rows_count; j++) {
					if (HAL_GPIO_ReadPin(row_ports[j], row_pins[j]) == GPIO_PIN_RESET) {  // if the Col j is high
//						TIM9->CCR2 = 500;
						HAL_TIM_PWM_Start(&htim9, TIM_CHANNEL_1);
						while (HAL_GPIO_ReadPin(row_ports[j], row_pins[j]) == GPIO_PIN_RESET);
						ButtonState = j * columns_count + i + 1;
						HAL_TIM_PWM_Stop(&htim9, TIM_CHANNEL_1);
					}
				}
			}
		}
  /* USER CODE END buttonListenFunction */
}

void HAL_TIM_PeriodElapsedCallback(TIM_HandleTypeDef *htim)
{
  /* USER CODE BEGIN Callback 0 */
//  if (htim->Instance == TIM4) {
//	HAL_TIM_PWM_Start(&htim13, TIM_CHANNEL_1);
//	//delay_us(1);
//	//HAL_GPIO_WritePin(Biased_A_PWM_GPIO_Port, Biased_A_PWM_Pin, GPIO_PIN_SET);
//  }
  /* USER CODE END Callback 0 */
  if (htim->Instance == TIM1) {
    HAL_IncTick();
  }
  /* USER CODE BEGIN Callback 1 */
//  if (htim->Instance == TIM4) {
//	  is_period_started = 1;
//  }
  /* USER CODE END Callback 1 */
}

void Error_Handler(void)
{
  __disable_irq();
  while (1)
  {
  }
}
